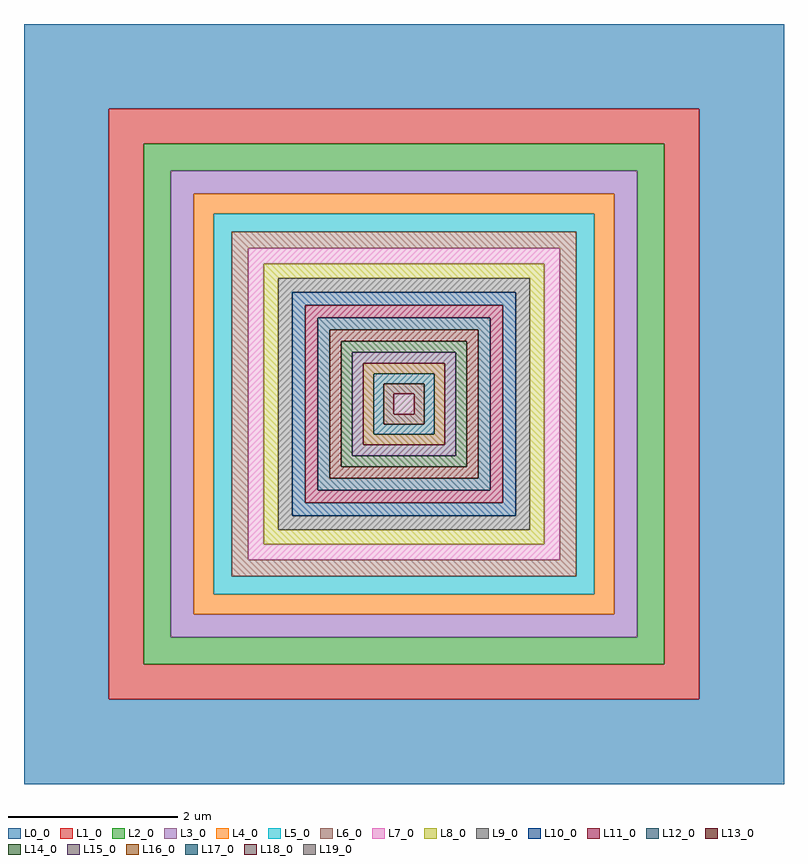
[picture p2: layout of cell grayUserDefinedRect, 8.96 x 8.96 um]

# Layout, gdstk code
import gdstk
lib = gdstk.Library(unit=1e-6, precision=1e-09)
def R(c, l, rs):  # rectangles x0, y0, x1, y1
    for r in rs: c.add(gdstk.rectangle(r[:2], r[2:], *l))
def P(c, l, *ps):  # polygons
    for p in ps: c.add(gdstk.Polygon(p, *l))
L0_0 = (0, 0)
L1_0 = (1, 0)
L2_0 = (2, 0)
L3_0 = (3, 0)
L4_0 = (4, 0)
L5_0 = (5, 0)
L6_0 = (6, 0)
L7_0 = (7, 0)
L8_0 = (8, 0)
L9_0 = (9, 0)
L10_0 = (10, 0)
L11_0 = (11, 0)
L12_0 = (12, 0)
L13_0 = (13, 0)
L14_0 = (14, 0)
L15_0 = (15, 0)
L16_0 = (16, 0)
L17_0 = (17, 0)
L18_0 = (18, 0)
L19_0 = (19, 0)

grayuserdefinedrect = lib.new_cell('grayUserDefinedRect')
P(grayuserdefinedrect, L0_0, [(-4.482,-4.482),(-4.482,-3.482),(3.482,-3.482),(3.482,3.482),(-3.482,3.482),(-3.482,-3.482),(-4.482,-3.482),(-4.482,4.482),(4.482,4.482),(4.482,-4.482)])
P(grayuserdefinedrect, L1_0, [(-3.482,-3.482),(-3.482,-3.068),(3.068,-3.068),(3.068,3.068),(-3.068,3.068),(-3.068,-3.068),(-3.482,-3.068),(-3.482,3.482),(3.482,3.482),(3.482,-3.482)])
P(grayuserdefinedrect, L2_0, [(-3.068,-3.068),(-3.068,-2.75),(2.75,-2.75),(2.75,2.75),(-2.75,2.75),(-2.75,-2.75),(-3.068,-2.75),(-3.068,3.068),(3.068,3.068),(3.068,-3.068)])
P(grayuserdefinedrect, L3_0, [(-2.75,-2.75),(-2.75,-2.482),(2.482,-2.482),(2.482,2.482),(-2.482,2.482),(-2.482,-2.482),(-2.75,-2.482),(-2.75,2.75),(2.75,2.75),(2.75,-2.75)])
P(grayuserdefinedrect, L4_0, [(-2.482,-2.482),(-2.482,-2.246),(2.246,-2.246),(2.246,2.246),(-2.246,2.246),(-2.246,-2.246),(-2.482,-2.246),(-2.482,2.482),(2.482,2.482),(2.482,-2.482)])
P(grayuserdefinedrect, L5_0, [(-2.246,-2.246),(-2.246,-2.033),(2.033,-2.033),(2.033,2.033),(-2.033,2.033),(-2.033,-2.033),(-2.246,-2.033),(-2.246,2.246),(2.246,2.246),(2.246,-2.246)])
P(grayuserdefinedrect, L6_0, [(-2.033,-2.033),(-2.033,-1.836),(1.836,-1.836),(1.836,1.836),(-1.836,1.836),(-1.836,-1.836),(-2.033,-1.836),(-2.033,2.033),(2.033,2.033),(2.033,-2.033)])
P(grayuserdefinedrect, L7_0, [(-1.836,-1.836),(-1.836,-1.654),(1.654,-1.654),(1.654,1.654),(-1.654,1.654),(-1.654,-1.654),(-1.836,-1.654),(-1.836,1.836),(1.836,1.836),(1.836,-1.836)])
P(grayuserdefinedrect, L8_0, [(-1.654,-1.654),(-1.654,-1.482),(1.482,-1.482),(1.482,1.482),(-1.482,1.482),(-1.482,-1.482),(-1.654,-1.482),(-1.654,1.654),(1.654,1.654),(1.654,-1.654)])
P(grayuserdefinedrect, L9_0, [(-1.482,-1.482),(-1.482,-1.32),(1.32,-1.32),(1.32,1.32),(-1.32,1.32),(-1.32,-1.32),(-1.482,-1.32),(-1.482,1.482),(1.482,1.482),(1.482,-1.482)])
P(grayuserdefinedrect, L10_0, [(-1.32,-1.32),(-1.32,-1.166),(1.166,-1.166),(1.166,1.166),(-1.166,1.166),(-1.166,-1.166),(-1.32,-1.166),(-1.32,1.32),(1.32,1.32),(1.32,-1.32)])
P(grayuserdefinedrect, L11_0, [(-1.166,-1.166),(-1.166,-1.018),(1.018,-1.018),(1.018,1.018),(-1.018,1.018),(-1.018,-1.018),(-1.166,-1.018),(-1.166,1.166),(1.166,1.166),(1.166,-1.166)])
P(grayuserdefinedrect, L12_0, [(-1.018,-1.018),(-1.018,-0.877),(0.877,-0.877),(0.877,0.877),(-0.877,0.877),(-0.877,-0.877),(-1.018,-0.877),(-1.018,1.018),(1.018,1.018),(1.018,-1.018)])
P(grayuserdefinedrect, L13_0, [(-0.877,-0.877),(-0.877,-0.74),(0.74,-0.74),(0.74,0.74),(-0.74,0.74),(-0.74,-0.74),(-0.877,-0.74),(-0.877,0.877),(0.877,0.877),(0.877,-0.877)])
P(grayuserdefinedrect, L14_0, [(-0.74,-0.74),(-0.74,-0.609),(0.609,-0.609),(0.609,0.609),(-0.609,0.609),(-0.609,-0.609),(-0.74,-0.609),(-0.74,0.74),(0.74,0.74),(0.74,-0.74)])
P(grayuserdefinedrect, L15_0, [(-0.609,-0.609),(-0.609,-0.482),(0.482,-0.482),(0.482,0.482),(-0.482,0.482),(-0.482,-0.482),(-0.609,-0.482),(-0.609,0.609),(0.609,0.609),(0.609,-0.609)])
P(grayuserdefinedrect, L16_0, [(-0.482,-0.482),(-0.482,-0.359),(0.359,-0.359),(0.359,0.359),(-0.359,0.359),(-0.359,-0.359),(-0.482,-0.359),(-0.482,0.482),(0.482,0.482),(0.482,-0.482)])
P(grayuserdefinedrect, L17_0, [(-0.359,-0.359),(-0.359,-0.239),(0.239,-0.239),(0.239,0.239),(-0.239,0.239),(-0.239,-0.239),(-0.359,-0.239),(-0.359,0.359),(0.359,0.359),(0.359,-0.359)])
P(grayuserdefinedrect, L18_0, [(-0.239,-0.239),(-0.239,-0.123),(0.123,-0.123),(0.123,0.123),(-0.123,0.123),(-0.123,-0.123),(-0.239,-0.123),(-0.239,0.239),(0.239,0.239),(0.239,-0.239)])
R(grayuserdefinedrect, L19_0, [(-0.123,-0.123,0.123,0.123)])

lib.write_gds('grayUserDefinedRect.gds')
